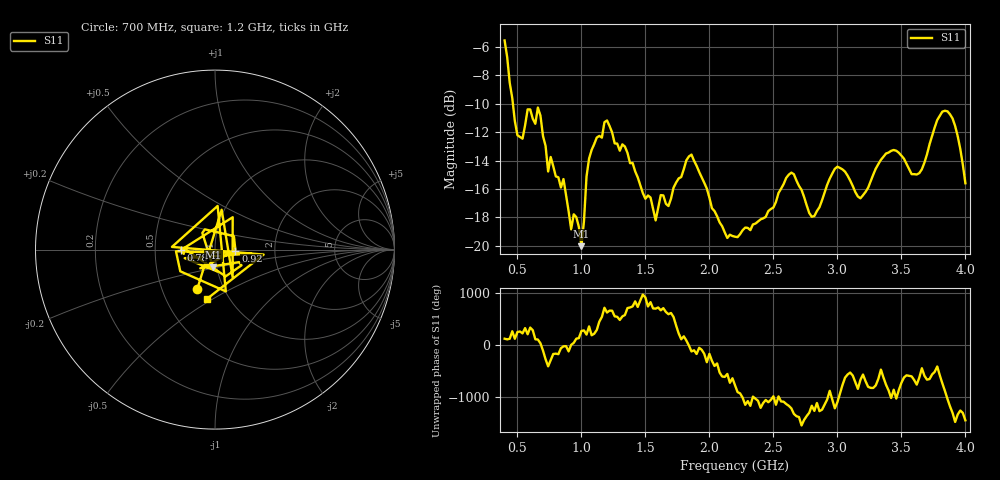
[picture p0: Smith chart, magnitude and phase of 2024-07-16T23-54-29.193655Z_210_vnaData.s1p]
!Created with skrf (http://scikit-rf.org).
# Hz S RI R 50.0
!freq ReS11 ImS11
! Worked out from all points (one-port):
!   181 points, 400 MHz to 4 GHz, reference 50 ohm
!   lowest |S11| = -20.0 dB at 1 GHz (marker M1), VSWR 1.22, Z = 48.1 - j9.64 ohm
!   |S11| at or under -10 dB: 464.8 MHz to end of sweep
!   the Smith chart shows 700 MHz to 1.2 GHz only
!   S11 on the Smith chart (normalised r, x): 700 MHz: 0.75, -0.35; 780 MHz: 0.68, -0.00; 920 MHz: 1.26, -0.02; 1.2 GHz: 0.80, -0.47
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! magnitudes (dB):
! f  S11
! 400 MHz  -5.5
! 500 MHz  -12.2
! 660 MHz  -10.3
! 700 MHz  -12.3
! 740 MHz  -14.8
! 780 MHz  -14.4
! 860 MHz  -15.3
! 920 MHz  -18.8
! 960 MHz  -18.0
! 1 GHz  -20.0
! 1.06 GHz  -13.8
! 1.2 GHz  -11.2
! 1.3 GHz  -13.3
! 1.58 GHz  -18.2
! 1.76 GHz  -15.3
! 1.86 GHz  -13.6
! 2.2 GHz  -19.4
! 2.66 GHz  -15.0
! 2.8 GHz  -18.0
! 2.98 GHz  -14.6
! 3.1 GHz  -15.4
! 3.18 GHz  -16.7
! 3.44 GHz  -13.2
! 3.56 GHz  -14.6
! 3.64 GHz  -14.9
! 3.86 GHz  -10.5
! 3.94 GHz  -12.3
! 4 GHz  -15.6
